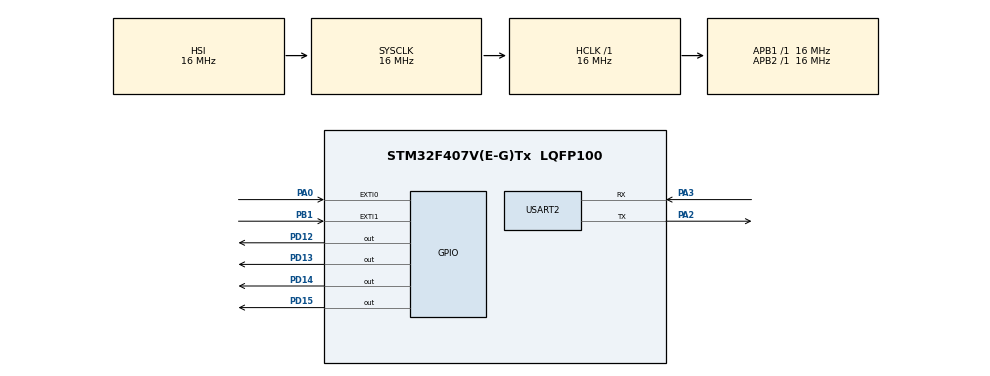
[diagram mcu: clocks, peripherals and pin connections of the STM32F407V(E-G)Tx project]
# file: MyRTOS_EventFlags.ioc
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Dma.Request0=USART2_RX
Dma.USART2_RX.0.Direction=DMA_PERIPH_TO_MEMORY
Dma.USART2_RX.0.FIFOMode=DMA_FIFOMODE_DISABLE
Dma.USART2_RX.0.Instance=DMA1_Stream5
Dma.USART2_RX.0.MemDataAlignment=DMA_MDATAALIGN_BYTE
Dma.USART2_RX.0.MemInc=DMA_MINC_ENABLE
Dma.USART2_RX.0.Mode=DMA_CIRCULAR
Dma.USART2_RX.0.PeriphDataAlignment=DMA_PDATAALIGN_BYTE
Dma.USART2_RX.0.PeriphInc=DMA_PINC_DISABLE
Dma.USART2_RX.0.Priority=DMA_PRIORITY_LOW
FREERTOS.Tasks01=defaultTask,24,128,StartDefaultTask,Default,NULL,Dynamic,NULL,NULL;myTask02,8,128,StartTask02,Default,NULL,Dynamic,NULL,NULL
Mcu.Family=STM32F4
Mcu.Name=STM32F407V(E-G)Tx
Mcu.Package=LQFP100
NVIC.DMA1_Stream5_IRQn=true\:5\:0\:false\:false\:true\:true\:false\:true
NVIC.EXTI0_IRQn=true\:5\:0\:false\:false\:true\:true\:true\:true
NVIC.EXTI1_IRQn=true\:0\:0\:false\:false\:true\:false\:true\:true
NVIC.PriorityGroup=NVIC_PRIORITYGROUP_4
PA0-WKUP.Signal=GPXTI0
PA2.Mode=Asynchronous
PA2.Signal=USART2_TX
PA3.Mode=Asynchronous
PA3.Signal=USART2_RX
PB1.GPIO_PuPd=GPIO_PULLDOWN
PB1.Signal=GPXTI1
PD12.Signal=GPIO_Output
PD13.Signal=GPIO_Output
PD14.Signal=GPIO_Output
PD15.Signal=GPIO_Output
ProjectManager.HeapSize=0x200
ProjectManager.StackSize=0x400
ProjectManager.TargetToolchain=MDK-ARM V5
RCC.AHBFreq_Value=16000000
RCC.APB1Freq_Value=16000000
RCC.APB2Freq_Value=16000000
RCC.CortexFreq_Value=16000000
RCC.HSE_VALUE=25000000
RCC.HSI_VALUE=16000000
RCC.LSE_VALUE=32768
RCC.SYSCLKFreq_VALUE=16000000
RCC.VCOOutputFreq_Value=192000000
USART2.VirtualMode=VM_ASYNC
VP_FREERTOS_VS_CMSIS_V2.Mode=CMSIS_V2
board=custom

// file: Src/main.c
/* USER CODE BEGIN Header */
/**
  ******************************************************************************
  * @file           : main.c
  * @brief          : Main program body
  ******************************************************************************
  * @attention
  *
  * <h2><center>&copy; Copyright (c) 2019 STMicroelectronics.
  * All rights reserved.</center></h2>
  *
  * This software component is licensed by ST under Ultimate Liberty license
  * SLA0044, the "License"; You may not use this file except in compliance with
  * the License. You may obtain a copy of the License at:
  *                             www.st.com/SLA0044
  *
  ******************************************************************************
  */
/* USER CODE END Header */

#include "main.h"
#include "cmsis_os.h"

/* USER CODE BEGIN PD */
#define FLAGS_MSK			0x00000003U
/* USER CODE END PD */

UART_HandleTypeDef huart2;
DMA_HandleTypeDef hdma_usart2_rx;

osThreadId_t defaultTaskHandle;
osThreadId_t myTask02Handle;
/* USER CODE BEGIN PV */
osEventFlagsId_t evt_id;
uint32_t flags;
char rxData[10];
/* USER CODE END PV */

void SystemClock_Config(void);
static void MX_GPIO_Init(void);
static void MX_DMA_Init(void);
static void MX_USART2_UART_Init(void);
void StartDefaultTask(void *argument);
void StartTask02(void *argument);

int main(void)
{

  /* MCU Configuration--------------------------------------------------------*/

  /* Reset of all peripherals, Initializes the Flash interface and the Systick. */
  HAL_Init();

  /* Configure the system clock */
  SystemClock_Config();

  /* Initialize all configured peripherals */
  MX_GPIO_Init();
  MX_DMA_Init();
  MX_USART2_UART_Init();
  /* USER CODE BEGIN 2 */
	HAL_UART_Receive_DMA(&huart2, (uint8_t *)rxData, 1);
  /* USER CODE END 2 */

  osKernelInitialize();

  /* Create the thread(s) */
  /* definition and creation of defaultTask */
  const osThreadAttr_t defaultTask_attributes = {
    .name = "defaultTask",
    .priority = (osPriority_t) osPriorityNormal,
    .stack_size = 128
  };
  defaultTaskHandle = osThreadNew(StartDefaultTask, NULL, &defaultTask_attributes);

  /* definition and creation of myTask02 */
  const osThreadAttr_t myTask02_attributes = {
    .name = "myTask02",
    .priority = (osPriority_t) osPriorityLow,
    .stack_size = 128
  };
  myTask02Handle = osThreadNew(StartTask02, NULL, &myTask02_attributes);

  /* USER CODE BEGIN RTOS_THREADS */
  /* add threads, ... */

	evt_id = osEventFlagsNew(NULL);
	  if (evt_id == NULL) {
    ; // Event Flags object not created, handle failure
    while(1);
  }
	osEventFlagsClear(evt_id, FLAGS_MSK);

  /* USER CODE END RTOS_THREADS */

  /* Start scheduler */
  osKernelStart();

  /* We should never get here as control is now taken by the scheduler */

  /* Infinite loop */
  while (1)
  {

  }
}

void SystemClock_Config(void)
{
  RCC_OscInitTypeDef RCC_OscInitStruct = {0};
  RCC_ClkInitTypeDef RCC_ClkInitStruct = {0};

  /** Configure the main internal regulator output voltage
  */
  __HAL_RCC_PWR_CLK_ENABLE();
  __HAL_PWR_VOLTAGESCALING_CONFIG(PWR_REGULATOR_VOLTAGE_SCALE1);
  /** Initializes the CPU, AHB and APB busses clocks
  */
  RCC_OscInitStruct.OscillatorType = RCC_OSCILLATORTYPE_HSI;
  RCC_OscInitStruct.HSIState = RCC_HSI_ON;
  RCC_OscInitStruct.HSICalibrationValue = RCC_HSICALIBRATION_DEFAULT;
  RCC_OscInitStruct.PLL.PLLState = RCC_PLL_NONE;
  if (HAL_RCC_OscConfig(&RCC_OscInitStruct) != HAL_OK)
  {
    Error_Handler();
  }
  /** Initializes the CPU, AHB and APB busses clocks
  */
  RCC_ClkInitStruct.ClockType = RCC_CLOCKTYPE_HCLK|RCC_CLOCKTYPE_SYSCLK
                              |RCC_CLOCKTYPE_PCLK1|RCC_CLOCKTYPE_PCLK2;
  RCC_ClkInitStruct.SYSCLKSource = RCC_SYSCLKSOURCE_HSI;
  RCC_ClkInitStruct.AHBCLKDivider = RCC_SYSCLK_DIV1;
  RCC_ClkInitStruct.APB1CLKDivider = RCC_HCLK_DIV1;
  RCC_ClkInitStruct.APB2CLKDivider = RCC_HCLK_DIV1;

  if (HAL_RCC_ClockConfig(&RCC_ClkInitStruct, FLASH_LATENCY_0) != HAL_OK)
  {
    Error_Handler();
  }
}

static void MX_USART2_UART_Init(void)
{

  huart2.Instance = USART2;
  huart2.Init.BaudRate = 115200;
  huart2.Init.WordLength = UART_WORDLENGTH_8B;
  huart2.Init.StopBits = UART_STOPBITS_1;
  huart2.Init.Parity = UART_PARITY_NONE;
  huart2.Init.Mode = UART_MODE_TX_RX;
  huart2.Init.HwFlowCtl = UART_HWCONTROL_NONE;
  huart2.Init.OverSampling = UART_OVERSAMPLING_16;
  if (HAL_UART_Init(&huart2) != HAL_OK)
  {
    Error_Handler();
  }

}

static void MX_DMA_Init(void)
{

  /* DMA controller clock enable */
  __HAL_RCC_DMA1_CLK_ENABLE();

  /* DMA interrupt init */
  /* DMA1_Stream5_IRQn interrupt configuration */
  HAL_NVIC_SetPriority(DMA1_Stream5_IRQn, 5, 0);
  HAL_NVIC_EnableIRQ(DMA1_Stream5_IRQn);

}

static void MX_GPIO_Init(void)
{
  GPIO_InitTypeDef GPIO_InitStruct = {0};

  /* GPIO Ports Clock Enable */
  __HAL_RCC_GPIOA_CLK_ENABLE();
  __HAL_RCC_GPIOB_CLK_ENABLE();
  __HAL_RCC_GPIOD_CLK_ENABLE();

  /*Configure GPIO pin Output Level */
  HAL_GPIO_WritePin(GPIOD, GPIO_PIN_12|GPIO_PIN_13|GPIO_PIN_14|GPIO_PIN_15, GPIO_PIN_RESET);

  /*Configure GPIO pin : PA0 */
  GPIO_InitStruct.Pin = GPIO_PIN_0;
  GPIO_InitStruct.Mode = GPIO_MODE_INPUT;
  GPIO_InitStruct.Pull = GPIO_NOPULL;
  HAL_GPIO_Init(GPIOA, &GPIO_InitStruct);

  /*Configure GPIO pin : PB1 */
  GPIO_InitStruct.Pin = GPIO_PIN_1;
  GPIO_InitStruct.Mode = GPIO_MODE_IT_RISING;
  GPIO_InitStruct.Pull = GPIO_PULLDOWN;
  HAL_GPIO_Init(GPIOB, &GPIO_InitStruct);

  /*Configure GPIO pins : PD12 PD13 PD14 PD15 */
  GPIO_InitStruct.Pin = GPIO_PIN_12|GPIO_PIN_13|GPIO_PIN_14|GPIO_PIN_15;
  GPIO_InitStruct.Mode = GPIO_MODE_OUTPUT_PP;
  GPIO_InitStruct.Pull = GPIO_NOPULL;
  GPIO_InitStruct.Speed = GPIO_SPEED_FREQ_LOW;
  HAL_GPIO_Init(GPIOD, &GPIO_InitStruct);

  /* EXTI interrupt init*/
  HAL_NVIC_SetPriority(EXTI0_IRQn, 5, 0);
  HAL_NVIC_EnableIRQ(EXTI0_IRQn);

  HAL_NVIC_SetPriority(EXTI1_IRQn, 0, 0);
  HAL_NVIC_EnableIRQ(EXTI1_IRQn);

}

/* USER CODE BEGIN 4 */

/// BY JAGANNATH
uint8_t buttonDebounce()
{
	uint8_t temp;
	temp = HAL_GPIO_ReadPin(GPIOA, GPIO_PIN_0);
	if(HAL_GPIO_ReadPin(GPIOA, GPIO_PIN_0) == temp)
		return temp;
	else
	{
		HAL_Delay(5);
		return HAL_GPIO_ReadPin(GPIOA, GPIO_PIN_0);
	}
}
void HAL_GPIO_EXTI_Callback(uint16_t GPIO_Pin)
{
  /* Prevent unused argument(s) compilation warning */
  UNUSED(GPIO_Pin);
  /* NOTE: This function Should not be modified, when the callback is needed,
           the HAL_GPIO_EXTI_Callback could be implemented in the user file
   */
	/*
	if(GPIO_Pin == GPIO_PIN_0)
	{
		osEventFlagsSet(evt_id, 0x00000001U);
	}*/
	/*
	else if(GPIO_Pin == GPIO_PIN_1)
	{
		osEventFlagsSet(evt_id, 0x00000002U);
	}*/

}

///void EXTI0_IRQHandler(void)
///{
  /* USER CODE BEGIN EXTI0_IRQn 0 */
	///osEventFlagsSet(evt_id, 0x00000001U);
	///for(uint32_t i=0; i<1000;i++)
		///	for(uint32_t j=0; j<1000;j++);
  /* USER CODE END EXTI0_IRQn 0 */
  ///HAL_GPIO_EXTI_IRQHandler(GPIO_PIN_0);
  /* USER CODE BEGIN EXTI0_IRQn 1 */

  /* USER CODE END EXTI0_IRQn 1 */
///}

void HAL_UART_RxCpltCallback(UART_HandleTypeDef *huart)
{
  /* Prevent unused argument(s) compilation warning */
  UNUSED(huart);
  /* NOTE: This function should not be modified, when the callback is needed,
           the HAL_UART_RxCpltCallback could be implemented in the user file
   */
	HAL_UART_Transmit(&huart2,(uint8_t *)rxData,1,10);
	osEventFlagsSet(evt_id, 0x00000002U);

}

///void EXTI1_IRQHandler(void)
///{
  /* USER CODE BEGIN EXTI1_IRQn 0 */
	///osEventFlagsSet(evt_id, 0x00000002U);
  /* USER CODE END EXTI1_IRQn 0 */
  ///HAL_GPIO_EXTI_IRQHandler(GPIO_PIN_1);
  /* USER CODE BEGIN EXTI1_IRQn 1 */

  /* USER CODE END EXTI1_IRQn 1 */
///}

/* USER CODE END 4 */

void StartDefaultTask(void *argument)
{

  /* USER CODE BEGIN 5 */

  /* Infinite loop */
  for(;;)
  {

		if(buttonDebounce() == (uint8_t)GPIO_PIN_SET)
		{
			osEventFlagsSet(evt_id, 0x00000001U);
		}
		HAL_GPIO_TogglePin(GPIOD, GPIO_PIN_12);
    osDelay(1000);

  }
  /* USER CODE END 5 */
}

void StartTask02(void *argument)
{
  /* USER CODE BEGIN StartTask02 */
  /* Infinite loop */
  for(;;)
  {
		flags = 0;
		flags = osEventFlagsWait(evt_id, FLAGS_MSK, osFlagsWaitAny, osWaitForever);
		if(flags != osFlagsErrorResource && flags != osFlagsErrorParameter)
		{
			if((flags&0x00000001) == 0x00000001)
			{
				HAL_GPIO_TogglePin(GPIOD, GPIO_PIN_13);
			}
			else if((flags&0x00000002) == 0x00000002)
			{
				HAL_GPIO_TogglePin(GPIOD, GPIO_PIN_14);
			}
			osDelay(1000);
			flags = 0;
		}
    //osDelay(1);
  }
  /* USER CODE END StartTask02 */
}

void Error_Handler(void)
{
}

/************************ (C) COPYRIGHT STMicroelectronics *****END OF FILE****/
